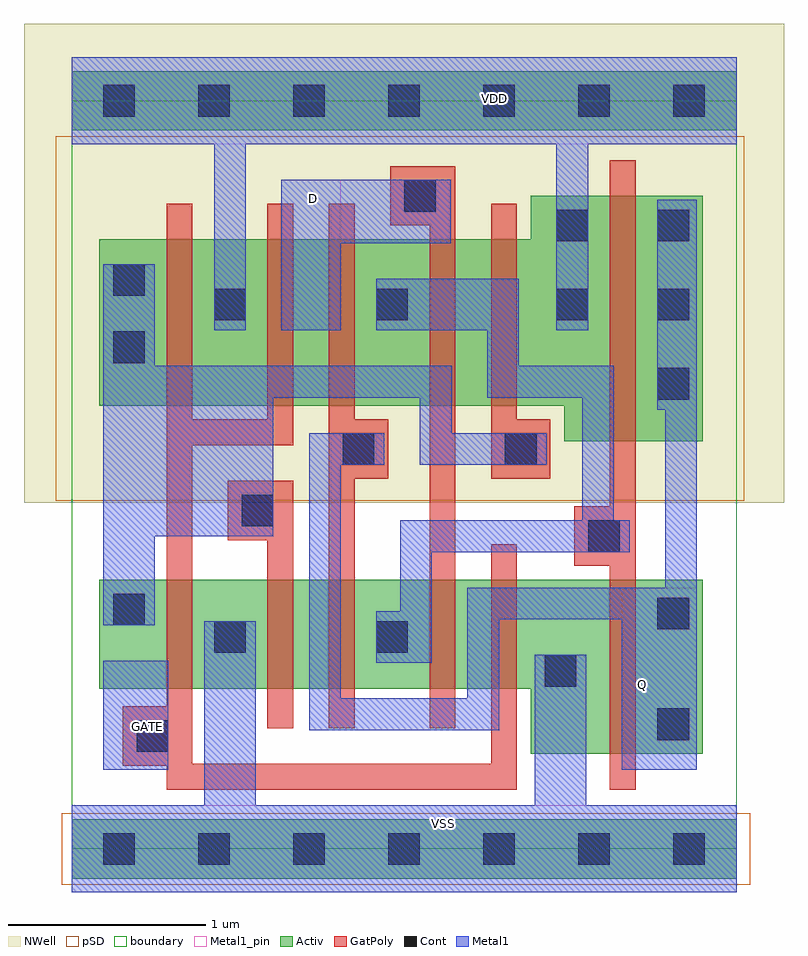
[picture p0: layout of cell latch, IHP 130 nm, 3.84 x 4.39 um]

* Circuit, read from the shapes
.subckt latch D GATE Q VDD VSS
XM1 VSS GATE n1 VSS sg13_lv_nmos w=0.55u l=0.13u
XM2 n2 n1 VSS VSS sg13_lv_nmos w=0.55u l=0.13u
XM3 n3 Q n2 VSS sg13_lv_nmos w=0.55u l=0.13u
XM4 n4 D n3 VSS sg13_lv_nmos w=0.55u l=0.13u
XM5 VSS GATE n4 VSS sg13_lv_nmos w=0.55u l=0.13u
XM6 Q n3 VSS VSS sg13_lv_nmos w=0.88u l=0.13u
XM7 VDD GATE n1 VDD sg13_lv_pmos w=0.84u l=0.13u
XM8 n5 GATE VDD VDD sg13_lv_pmos w=0.84u l=0.13u
XM9 n3 Q n5 VDD sg13_lv_pmos w=0.84u l=0.13u
XM10 n6 D n3 VDD sg13_lv_pmos w=0.84u l=0.13u
XM11 VDD n1 n6 VDD sg13_lv_pmos w=0.84u l=0.13u
XM12 Q n3 VDD VDD sg13_lv_pmos w=1.24u l=0.13u
.ends

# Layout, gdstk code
import gdstk
lib = gdstk.Library(unit=1e-6, precision=1e-09)
def R(c, l, rs):  # rectangles x0, y0, x1, y1
    for r in rs: c.add(gdstk.rectangle(r[:2], r[2:], *l))
def A(c, l, x, y, w, h, nx, ny, dx, dy):  # array of equal rectangles
    R(c, l, [(x+i*dx, y+j*dy, x+i*dx+w, y+j*dy+h) for i in range(nx) for j in range(ny)])
def P(c, l, *ps):  # polygons
    for p in ps: c.add(gdstk.Polygon(p, *l))
Activ = (1, 0)
GatPoly = (5, 0)
Cont = (6, 0)
Metal1 = (8, 0)
Metal1_pin = (8, 2)
pSD = (14, 0)
NWell = (31, 0)
boundary = (189, 4)

latch = lib.new_cell('latch')
R(latch, Activ, [(0,-0.15,3.36,0.15), (0,3.63,3.36,3.93)])
P(latch, Activ, [(2.32,0.48),(2.32,0.81),(0.14,0.81),(0.14,1.36),(3.19,1.36),(3.19,0.48)],
  [(2.49,2.06),(2.49,2.24),(0.14,2.24),(0.14,3.08),(2.32,3.08),(2.32,3.3),(3.19,3.3),(3.19,2.06)])
P(latch, GatPoly, [(0.99,0.61),(0.99,1.56),(0.79,1.56),(0.79,1.86),(1.12,1.86),(1.12,0.61)],
  [(0.48,0.3),(0.48,0.42),(0.26,0.42),(0.26,0.72),(0.48,0.72),(0.48,3.26),(0.61,3.26),(0.61,2.17),(0.99,2.17),(0.99,3.26),(1.12,3.26),(1.12,2.04),(0.61,2.04),(0.61,0.43),(2.12,0.43),(2.12,1.54),(2.25,1.54),(2.25,0.3)],
  [(1.3,0.61),(1.3,3.26),(1.43,3.26),(1.43,2.17),(1.6,2.17),(1.6,1.87),(1.43,1.87),(1.43,0.61)],
  [(2.12,1.87),(2.12,3.26),(2.25,3.26),(2.25,2.17),(2.42,2.17),(2.42,1.87)],
  [(1.81,0.61),(1.81,3.15),(1.61,3.15),(1.61,3.45),(1.94,3.45),(1.94,0.61)],
  [(2.72,0.3),(2.72,1.43),(2.54,1.43),(2.54,1.73),(2.72,1.73),(2.72,3.48),(2.85,3.48),(2.85,0.3)])
A(latch, Cont, 0.16, -0.08, 0.16, 0.16, 7, 2, 0.48, 3.78)
A(latch, Cont, 2.96, 2.27, 0.16, 0.16, 1, 3, 0, 0.4)
R(latch, Cont, [(0.33,0.49,0.49,0.65), (2.96,0.55,3.12,0.71), (2.39,0.82,2.55,0.98), (0.72,0.99,0.88,1.15), (1.54,0.99,1.7,1.15), (2.96,1.11,3.12,1.27), (0.21,1.13,0.37,1.29), (2.61,1.5,2.77,1.66), (0.86,1.63,1.02,1.79), (1.37,1.94,1.53,2.1), (2.19,1.94,2.35,2.1), (0.21,2.455,0.37,2.615), (0.72,2.67,0.88,2.83), (1.54,2.67,1.7,2.83), (2.45,2.67,2.61,2.83), (0.21,2.795,0.37,2.955), (2.45,3.07,2.61,3.23), (1.68,3.22,1.84,3.38)])
R(latch, Metal1, [(0.16,0.4,0.49,0.95)])
P(latch, Metal1, [(0,-0.22),(0,0.22),(0.67,0.22),(0.67,1.15),(0.93,1.15),(0.93,0.22),(2.34,0.22),(2.34,0.98),(2.6,0.98),(2.6,0.22),(3.36,0.22),(3.36,-0.22)],
  [(1.54,0.94),(1.54,1.2),(1.66,1.2),(1.66,1.66),(2.58,1.66),(2.58,2.28),(2.1,2.28),(2.1,2.62),(1.54,2.62),(1.54,2.88),(2.26,2.88),(2.26,2.44),(2.74,2.44),(2.74,1.66),(2.82,1.66),(2.82,1.5),(1.82,1.5),(1.82,0.94)],
  [(0.16,1.13),(0.16,2.955),(0.42,2.955),(0.42,2.44),(1.92,2.44),(1.92,2.1),(2.4,2.1),(2.4,1.94),(1.76,1.94),(1.76,2.28),(1.02,2.28),(1.02,1.58),(0.42,1.58),(0.42,1.13)],
  [(2.78,0.4),(2.78,1.16),(2.16,1.16),(2.16,0.6),(1.2,0.6),(1.2,2.1),(1.58,2.1),(1.58,1.94),(1.36,1.94),(1.36,0.76),(2,0.76),(2,1.32),(3,1.32),(3,2.22),(2.96,2.22),(2.96,3.28),(3.16,3.28),(3.16,0.4)],
  [(1.06,2.62),(1.06,3.38),(1.915,3.38),(1.915,3.06),(1.36,3.06),(1.36,2.62)],
  [(0.72,2.62),(0.72,3.56),(0,3.56),(0,4),(3.36,4),(3.36,3.56),(2.61,3.56),(2.61,2.62),(2.45,2.62),(2.45,3.56),(0.88,3.56),(0.88,2.62)])
R(latch, Metal1_pin, [(0,-0.22,3.36,0.22), (0.16,0.4,0.49,0.95), (2.78,0.4,3.16,1.32), (1.06,2.62,1.36,3.38), (0,3.56,3.36,4)])
R(latch, pSD, [(-0.05,-0.18,3.43,0.18), (-0.08,1.76,3.4,3.6)])
R(latch, NWell, [(-0.24,1.75,3.6,4.17)])
R(latch, boundary, [(0,0,3.36,3.78)])
latch.add(gdstk.Label('Q', (2.885,0.83), layer=8, texttype=25))
latch.add(gdstk.Label('D', (1.225,3.285), layer=8, texttype=25))
latch.add(gdstk.Label('VSS', (1.88,0.13), layer=8, texttype=25))
latch.add(gdstk.Label('VDD', (2.135,3.79), layer=8, texttype=25))
latch.add(gdstk.Label('GATE', (0.385,0.62), layer=8, texttype=25))

lib.write_gds('latch.gds')
